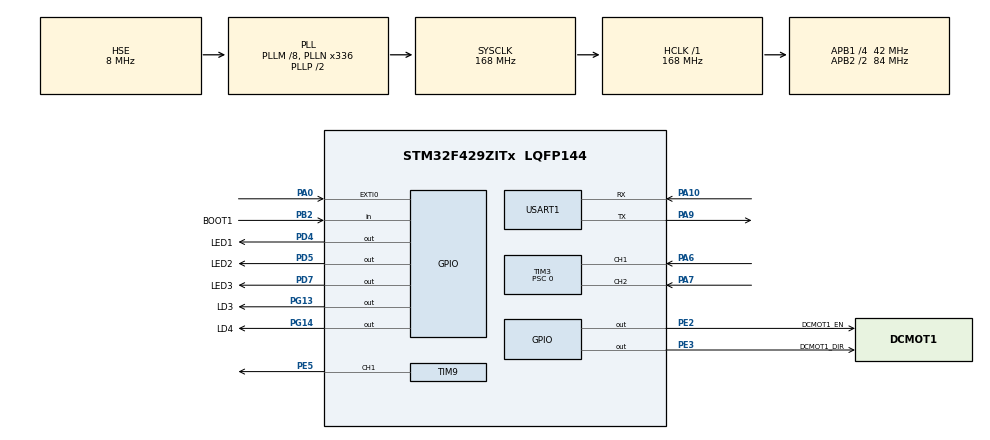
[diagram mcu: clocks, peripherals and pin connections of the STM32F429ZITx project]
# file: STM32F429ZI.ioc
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Mcu.Family=STM32F4
Mcu.Name=STM32F429ZITx
Mcu.Package=LQFP144
NVIC.EXTI0_IRQn=true\:0\:0\:false\:true\:true\:1\:true\:true
NVIC.PriorityGroup=NVIC_PRIORITYGROUP_4
NVIC.TIM6_DAC_IRQn=true\:0\:0\:false\:true\:true\:2\:true\:true
PA0/WKUP.Signal=GPXTI0
PA10.Mode=Asynchronous
PA10.Signal=USART1_RX
PA13.Mode=JTAG_4_pins
PA13.Signal=SYS_JTMS-SWDIO
PA14.Mode=JTAG_4_pins
PA14.Signal=SYS_JTCK-SWCLK
PA15.Mode=JTAG_4_pins
PA15.Signal=SYS_JTDI
PA6.GPIO_PuPd=GPIO_PULLUP
PA6.GPIO_Speed=GPIO_SPEED_FREQ_VERY_HIGH
PA6.Signal=S_TIM3_CH1
PA7.GPIO_PuPd=GPIO_PULLUP
PA7.GPIO_Speed=GPIO_SPEED_FREQ_VERY_HIGH
PA7.Signal=S_TIM3_CH2
PA9.Mode=Asynchronous
PA9.Signal=USART1_TX
PB2/BOOT1.GPIO_Label=BOOT1
PB2/BOOT1.Signal=GPIO_Input
PB3.Mode=JTAG_4_pins
PB3.Signal=SYS_JTDO-SWO
PD4.GPIO_Label=LED1
PD4.GPIO_ModeDefaultOutputPP=GPIO_MODE_OUTPUT_PP
PD4.GPIO_PuPd=GPIO_NOPULL
PD4.GPIO_Speed=GPIO_SPEED_FREQ_VERY_HIGH
PD4.PinState=GPIO_PIN_RESET
PD4.Signal=GPIO_Output
PD5.GPIO_Label=LED2
PD5.GPIO_ModeDefaultOutputPP=GPIO_MODE_OUTPUT_PP
PD5.GPIO_PuPd=GPIO_NOPULL
PD5.GPIO_Speed=GPIO_SPEED_FREQ_VERY_HIGH
PD5.PinState=GPIO_PIN_RESET
PD5.Signal=GPIO_Output
PD7.GPIO_Label=LED3
PD7.GPIO_ModeDefaultOutputPP=GPIO_MODE_OUTPUT_PP
PD7.GPIO_PuPd=GPIO_NOPULL
PD7.GPIO_Speed=GPIO_SPEED_FREQ_VERY_HIGH
PD7.PinState=GPIO_PIN_RESET
PD7.Signal=GPIO_Output
PE2.GPIO_Label=DCMOT1_EN
PE2.GPIO_Speed=GPIO_SPEED_FREQ_VERY_HIGH
PE2.Signal=GPIO_Output
PE3.GPIO_Label=DCMOT1_DIR
PE3.GPIO_Speed=GPIO_SPEED_FREQ_VERY_HIGH
PE3.Signal=GPIO_Output
PE5.GPIO_Speed=GPIO_SPEED_FREQ_VERY_HIGH
PE5.Signal=S_TIM9_CH1
PG13.GPIO_Label=LD3
PG13.Signal=GPIO_Output
PG14.GPIO_Label=LD4
PG14.Signal=GPIO_Output
PH0/OSC_IN.Mode=HSE-External-Clock-Source
PH0/OSC_IN.Signal=RCC_OSC_IN
PH1/OSC_OUT.Mode=HSE-External-Clock-Source
PH1/OSC_OUT.Signal=RCC_OSC_OUT
ProjectManager.HeapSize=0x200
ProjectManager.StackSize=0x400
ProjectManager.TargetToolchain=EWARM V8
RCC.48MHZClocksFreq_Value=84000000
RCC.AHBFreq_Value=168000000
RCC.APB1CLKDivider=RCC_HCLK_DIV4
RCC.APB1Freq_Value=42000000
RCC.APB1TimFreq_Value=84000000
RCC.APB2CLKDivider=RCC_HCLK_DIV2
RCC.APB2Freq_Value=84000000
RCC.APB2TimFreq_Value=168000000
RCC.CortexFreq_Value=168000000
RCC.HCLKFreq_Value=168000000
RCC.HSE_VALUE=8000000
RCC.HSI_VALUE=16000000
RCC.LSE_VALUE=32768
RCC.PLLM=8
RCC.PLLN=336
RCC.PLLSourceVirtual=RCC_PLLSOURCE_HSE
RCC.SYSCLKFreq_VALUE=168000000
RCC.SYSCLKSource=RCC_SYSCLKSOURCE_PLLCLK
RCC.VCOOutputFreq_Value=336000000
SH.S_TIM3_CH1.0=TIM3_CH1,Encoder_Interface
SH.S_TIM3_CH2.0=TIM3_CH2,Encoder_Interface
SH.S_TIM9_CH1.0=TIM9_CH1,PWM Generation1 CH1
TIM3.EncoderMode=TIM_ENCODERMODE_TI12
TIM3.IC1Filter=5
TIM3.IC2Filter=5
TIM3.Period=0xFFFF
TIM3.Prescaler=0
TIM6.Period=1000-1
TIM6.Prescaler=84-1
TIM9.Channel-PWM\ Generation1\ CH1=TIM_CHANNEL_1
TIM9.Period=100-1
TIM9.Prescaler=84-1
TIM9.Pulse-PWM\ Generation1\ CH1=10
USART1.VirtualMode=VM_ASYNC
VP_TIM6_VS_ClockSourceINT.Mode=Enable_Timer
VP_TIM9_VS_ClockSourceINT.Mode=Internal
board=custom

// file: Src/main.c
/* USER CODE BEGIN Header */
/**
  ******************************************************************************
  * @file           : main.c
  * @brief          : Main program body
  ******************************************************************************
  * @attention
  *
  * <h2><center>&copy; Copyright (c) 2020 STMicroelectronics.
  * All rights reserved.</center></h2>
  *
  * This software component is licensed by ST under BSD 3-Clause license,
  * the "License"; You may not use this file except in compliance with the
  * License. You may obtain a copy of the License at:
  *                        opensource.org/licenses/BSD-3-Clause
  *
  ******************************************************************************
  */

////////////////////////////
//
//   DC Motor PID Position Control
//
////////////////////////////
/* USER CODE END Header */

#include "main.h"

/* USER CODE BEGIN Includes */
#include <stdio.h>
#include <string.h>
#include <math.h>
#include "mathext.h"
#include "DcMotor.h"
#include "DcMotorExtern.h"

/* USER CODE END Includes */

/* USER CODE BEGIN PD */

#define PID_SUM_TYPE     1
#define PWM_MAX_STEP  10
#define PWM_MIN_POSITIVE 22
#define PWM_MIN_NEGATIVE 22

/* USER CODE END PD */

TIM_HandleTypeDef htim3;
TIM_HandleTypeDef htim6;
TIM_HandleTypeDef htim9;

UART_HandleTypeDef huart1;

/* USER CODE BEGIN PV */

//형 선언
typedef enum _bool{
  FALSE=0,
  TRUE=1
} bool;
bool a =TRUE;

struct  {
  float Kp;
  float Ki;
  float Kd;
} PidParam={3,  0.001, 0.005};

enum {
  STATE_IDLE = 0,
  STATE_RUN_SAVE, // 동작 및 저장
  STATE_NORUN_PRINT, // 결과출력
  STATE_RUN_ONLY,  //제어만
} RunState={STATE_RUN_SAVE};

bool flagTim3=FALSE;
int16_t flagUser=0; //user button press

/* USER CODE END PV */

void SystemClock_Config(void);
static void MX_GPIO_Init(void);
static void MX_TIM3_Init(void);
static void MX_USART1_UART_Init(void);
static void MX_TIM9_Init(void);
static void MX_TIM6_Init(void);
static void MX_NVIC_Init(void);

/* USER CODE BEGIN 0 */
/*
#ifdef __GNUC__
   #define PUTCHAR_PROTOTYPE int __io_putchar(int ch)
#else
   #define PUTCHAR_PROTOTYPE int fputc(int ch, FILE *f)
#endif

PUTCHAR_PROTOTYPE
{
   HAL_UART_Transmit(&huart1, (uint8_t *)&ch, 1, 1);
   return ch;
}
*/

void  ReadEncoder()
{
      //엔코더 위치 및 샘플링당 엔코더차이(속도) 16bit 계산
      DcMotor1.Encoder16 = DcMotor1ReadEncoder();//TIM4 16비트
      //인터럽트간 엔코더값 차이 계산 => 실제의미는 속도
      DcMotor1.Encoder16Diff= DcMotor1.Encoder16- DcMotor1.Encoder16Old;
      DcMotor1.Encoder16Old = DcMotor1.Encoder16;

       //엔코더 위치 및 샘플링당 엔코더차이(속도) 32bit 로 확장
      // TIM4는 16CNT , 모터 8회전하면 오버플로우문제가 발생
      // 현재위치 = 누적합 of 인터럽트간 엔코더값의 변화
      //x DcMotor1.Encoder32 = DcMotor1.Encoder16;
      DcMotor1.Encoder32 += DcMotor1.Encoder16Diff;
      DcMotor1.Encoder32Diff = DcMotor1.Encoder32- DcMotor1.Encoder32Old;//=DcMotor1.Encoder16Diff
      DcMotor1.Encoder32Old = DcMotor1.Encoder32;

      Controller1.Output32 = DcMotor1.Encoder32;
}

void PidControlInit()
{
  // DC Motor 관련변수 초기화
    DcMotor1.Encoder16Old = 0;
    DcMotor1.Encoder32 = 0 ;
    DcMotor1.Encoder32Old = 0 ;
    DcMotor1.Encoder32Diff = 0;

   // 제어기 관련변수 초기화
	Controller1.Output32 = DcMotor1.Encoder32;
    Controller1.Target32 = 4096;
    Controller1.ErrorOld32 = 0;
    Controller1.ErrorSum32 =0;
    Controller1.loop =0;

    //PWM duty =0
    DcMotor1SetDutyPulse(&htim9, 0);

    //htim4->CNT <= 0x0000 (16bit 카운터 clear)
    __HAL_TIM_SET_COUNTER(&htim3,   0x0000);
}

  float TermKp,TermKi,TermKd;

void PidControl()
{
   // 목표값과 현재 플랜트 출력의 오차
	Controller1.Error32 = Controller1.Target32- Controller1.Output32;

#ifdef PID_SUM_TYPE
   //Euler 적분
	Controller1.ErrorSum32 += Controller1.Error32; //오차의 합(적분값)
#else
   //사다리꼴 적분 : Tustin's method
	Controller1.ErrorSum32 += (Controller1.Error32+Controller1.ErrorOld32)/2; //오차의 합(적분값)
#endif

   Controller1.ErrorDiff32 = Controller1.Error32- Controller1.ErrorOld32; // 샘플간 오차의 차이(미분값)
   Controller1.ErrorOld32 = Controller1.Error32;

   //ErrorSum 최대값 제한
   #define ERRROR_SUM_MAX  (WHEEL_RESOLUTION*0.5)
	//	Controller1.ErrorSum32 = LimitFloat(Controller1.ErrorSum32 , ERRROR_SUM_MAX);
   #undef ERRROR_SUM_MAX

    TermKp =  PidParam.Kp * Controller1.Error32 ; //비례제어값
    TermKi = PidParam.Ki * Controller1.ErrorSum32 * Tsample; //적분제어값
    TermKd =  PidParam.Kd * Controller1.ErrorDiff32 / Tsample ;//미분제어값
    Controller1.f = TermKp + TermKi + TermKd;

    //PWM pulse 실수=>+-100이내의 정수값 변환
    Controller1.U = FloatToInt16Limit( Controller1.f ,  U_MAX);
    //PWM dead zone 피하기
    Controller1.U  = AvoidDeadzone(Controller1.U, PWM_MIN_POSITIVE,  PWM_MIN_NEGATIVE);
    //PWM pulse 폭 설정
    DcMotor1SetDutyPulse(&htim9, Controller1.U);
}

void PidControlRecord()
{
	Backup1.RecordOutput[Controller1.loop]= Controller1.Output32;//엔코더 값
	Backup1.RecordU[Controller1.loop] = Controller1.U; //PWM 펄스폭
	Backup1.RecordError[Controller1.loop] = Controller1.Error32;  //제어기 오차
	Backup1.RecordErrorSum[Controller1.loop] = Controller1.ErrorSum32;
	Backup1.RecordErrorDiff[Controller1.loop] = Controller1.ErrorDiff32;
}

void PidControlResultTransmit()
{
  char string[200];
  HAL_UART_Transmit(&huart1, (uint8_t *)"Record Print\r\n", strlen("Record Print\r\n"), 1000);
  for(int i=0 ; i<RECORD_MAX ; i++ ){
//	printf("%7d, %5d, %6d \r\n", i, Backup1.RecordOutput[i], Backup1.RecordU[i]);
     sprintf(string, "%7d, %5d, %6d \r\n", i, Backup1.RecordOutput[i], Backup1.RecordU[i]);
     HAL_UART_Transmit( &huart1, (uint8_t *)string, strlen(string), 1000);
  }
}

//LCD에 엔코더, U값 출력
void Plot()
{
}

/* USER CODE END 0 */

int main(void)
{
  /* USER CODE BEGIN 1 */
  char string[100];
  /* USER CODE END 1 */

  /* MCU Configuration--------------------------------------------------------*/

  /* Reset of all peripherals, Initializes the Flash interface and the Systick. */
  HAL_Init();

  /* Configure the system clock */
  SystemClock_Config();

  /* Initialize all configured peripherals */
  MX_GPIO_Init();
  MX_TIM3_Init();
  MX_USART1_UART_Init();
  MX_TIM9_Init();
  MX_TIM6_Init();

  /* Initialize interrupts */
  MX_NVIC_Init();
  /* USER CODE BEGIN 2 */

   PidControlInit();
   HAL_TIM_Encoder_Start(&htim3, TIM_CHANNEL_1 | TIM_CHANNEL_2 );
   HAL_TIM_Base_Start_IT(&htim6);
   HAL_TIM_PWM_Start(&htim9, TIM_CHANNEL_1);

  /* USER CODE END 2 */

  /* Infinite loop */
  while (1)
  {

    /* USER CODE BEGIN 3 */
        if( flagTim3==TRUE){
			HAL_GPIO_WritePin(LD4_GPIO_Port, LD4_Pin,GPIO_PIN_SET);
			ReadEncoder();
            switch(RunState){
               case STATE_RUN_SAVE://동작저장 모드
                  if(Controller1.loop< RECORD_MAX){
						PidControl();
						PidControlRecord();
						Plot();
						Controller1.loop++;
                  }else {
                     Controller1.loop = 0;
                   RunState = STATE_NORUN_PRINT;
                    //RunState = STATE_RUN_ONLY;
                  }
                  break;

               case STATE_NORUN_PRINT:// 저장된 내용 시리얼 출력
                  //TIM6 interrupt disable
                  HAL_NVIC_DisableIRQ( TIM6_DAC_IRQn);
				  DcMotor1SetDutyPulse(&htim9, 0);
                  PidControlResultTransmit();
                  Controller1.loop = 0;
                 RunState = STATE_RUN_ONLY;
                  //TIM6 interrupt enable
                  HAL_NVIC_EnableIRQ( TIM6_DAC_IRQn);
                  break;

               case STATE_RUN_ONLY:
                 PidControl();
                  break;

            case STATE_IDLE:
                  break;
            }

            flagTim3=FALSE;
            HAL_GPIO_WritePin(LD4_GPIO_Port, LD4_Pin,GPIO_PIN_RESET);
        }
    }
  /* USER CODE END 3 */
}

void SystemClock_Config(void)
{
  RCC_OscInitTypeDef RCC_OscInitStruct = {0};
  RCC_ClkInitTypeDef RCC_ClkInitStruct = {0};

  /** Configure the main internal regulator output voltage
  */
  __HAL_RCC_PWR_CLK_ENABLE();
  __HAL_PWR_VOLTAGESCALING_CONFIG(PWR_REGULATOR_VOLTAGE_SCALE1);
  /** Initializes the CPU, AHB and APB busses clocks
  */
  RCC_OscInitStruct.OscillatorType = RCC_OSCILLATORTYPE_HSE;
  RCC_OscInitStruct.HSEState = RCC_HSE_BYPASS;
  RCC_OscInitStruct.PLL.PLLState = RCC_PLL_ON;
  RCC_OscInitStruct.PLL.PLLSource = RCC_PLLSOURCE_HSE;
  RCC_OscInitStruct.PLL.PLLM = 8;
  RCC_OscInitStruct.PLL.PLLN = 336;
  RCC_OscInitStruct.PLL.PLLP = RCC_PLLP_DIV2;
  RCC_OscInitStruct.PLL.PLLQ = 4;
  if (HAL_RCC_OscConfig(&RCC_OscInitStruct) != HAL_OK)
  {
    Error_Handler();
  }
  /** Initializes the CPU, AHB and APB busses clocks
  */
  RCC_ClkInitStruct.ClockType = RCC_CLOCKTYPE_HCLK|RCC_CLOCKTYPE_SYSCLK
                              |RCC_CLOCKTYPE_PCLK1|RCC_CLOCKTYPE_PCLK2;
  RCC_ClkInitStruct.SYSCLKSource = RCC_SYSCLKSOURCE_PLLCLK;
  RCC_ClkInitStruct.AHBCLKDivider = RCC_SYSCLK_DIV1;
  RCC_ClkInitStruct.APB1CLKDivider = RCC_HCLK_DIV4;
  RCC_ClkInitStruct.APB2CLKDivider = RCC_HCLK_DIV2;

  if (HAL_RCC_ClockConfig(&RCC_ClkInitStruct, FLASH_LATENCY_5) != HAL_OK)
  {
    Error_Handler();
  }
}

/**
  * @brief NVIC Configuration.
  * @retval None
  */
static void MX_NVIC_Init(void)
{
  /* EXTI0_IRQn interrupt configuration */
  HAL_NVIC_SetPriority(EXTI0_IRQn, 0, 0);
  HAL_NVIC_EnableIRQ(EXTI0_IRQn);
  /* TIM6_DAC_IRQn interrupt configuration */
  HAL_NVIC_SetPriority(TIM6_DAC_IRQn, 0, 0);
  HAL_NVIC_EnableIRQ(TIM6_DAC_IRQn);
}

static void MX_TIM3_Init(void)
{

  TIM_Encoder_InitTypeDef sConfig = {0};
  TIM_MasterConfigTypeDef sMasterConfig = {0};

  htim3.Instance = TIM3;
  htim3.Init.Prescaler = 0;
  htim3.Init.CounterMode = TIM_COUNTERMODE_UP;
  htim3.Init.Period = 0xFFFF;
  htim3.Init.ClockDivision = TIM_CLOCKDIVISION_DIV1;
  htim3.Init.AutoReloadPreload = TIM_AUTORELOAD_PRELOAD_DISABLE;
  sConfig.EncoderMode = TIM_ENCODERMODE_TI12;
  sConfig.IC1Polarity = TIM_ICPOLARITY_RISING;
  sConfig.IC1Selection = TIM_ICSELECTION_DIRECTTI;
  sConfig.IC1Prescaler = TIM_ICPSC_DIV1;
  sConfig.IC1Filter = 5;
  sConfig.IC2Polarity = TIM_ICPOLARITY_RISING;
  sConfig.IC2Selection = TIM_ICSELECTION_DIRECTTI;
  sConfig.IC2Prescaler = TIM_ICPSC_DIV1;
  sConfig.IC2Filter = 5;
  if (HAL_TIM_Encoder_Init(&htim3, &sConfig) != HAL_OK)
  {
    Error_Handler();
  }
  sMasterConfig.MasterOutputTrigger = TIM_TRGO_RESET;
  sMasterConfig.MasterSlaveMode = TIM_MASTERSLAVEMODE_DISABLE;
  if (HAL_TIMEx_MasterConfigSynchronization(&htim3, &sMasterConfig) != HAL_OK)
  {
    Error_Handler();
  }

}

static void MX_TIM6_Init(void)
{

  TIM_MasterConfigTypeDef sMasterConfig = {0};

  htim6.Instance = TIM6;
  htim6.Init.Prescaler = 84-1;
  htim6.Init.CounterMode = TIM_COUNTERMODE_UP;
  htim6.Init.Period = 1000-1;
  htim6.Init.AutoReloadPreload = TIM_AUTORELOAD_PRELOAD_DISABLE;
  if (HAL_TIM_Base_Init(&htim6) != HAL_OK)
  {
    Error_Handler();
  }
  sMasterConfig.MasterOutputTrigger = TIM_TRGO_RESET;
  sMasterConfig.MasterSlaveMode = TIM_MASTERSLAVEMODE_DISABLE;
  if (HAL_TIMEx_MasterConfigSynchronization(&htim6, &sMasterConfig) != HAL_OK)
  {
    Error_Handler();
  }

}

static void MX_TIM9_Init(void)
{

  TIM_ClockConfigTypeDef sClockSourceConfig = {0};
  TIM_OC_InitTypeDef sConfigOC = {0};

  htim9.Instance = TIM9;
  htim9.Init.Prescaler = 84-1;
  htim9.Init.CounterMode = TIM_COUNTERMODE_UP;
  htim9.Init.Period = 100-1;
  htim9.Init.ClockDivision = TIM_CLOCKDIVISION_DIV1;
  htim9.Init.AutoReloadPreload = TIM_AUTORELOAD_PRELOAD_DISABLE;
  if (HAL_TIM_Base_Init(&htim9) != HAL_OK)
  {
    Error_Handler();
  }
  sClockSourceConfig.ClockSource = TIM_CLOCKSOURCE_INTERNAL;
  if (HAL_TIM_ConfigClockSource(&htim9, &sClockSourceConfig) != HAL_OK)
  {
    Error_Handler();
  }
  if (HAL_TIM_PWM_Init(&htim9) != HAL_OK)
  {
    Error_Handler();
  }
  sConfigOC.OCMode = TIM_OCMODE_PWM1;
  sConfigOC.Pulse = 10;
  sConfigOC.OCPolarity = TIM_OCPOLARITY_HIGH;
  sConfigOC.OCFastMode = TIM_OCFAST_DISABLE;
  if (HAL_TIM_PWM_ConfigChannel(&htim9, &sConfigOC, TIM_CHANNEL_1) != HAL_OK)
  {
    Error_Handler();
  }
  HAL_TIM_MspPostInit(&htim9);

}

static void MX_USART1_UART_Init(void)
{

  huart1.Instance = USART1;
  huart1.Init.BaudRate = 115200;
  huart1.Init.WordLength = UART_WORDLENGTH_8B;
  huart1.Init.StopBits = UART_STOPBITS_1;
  huart1.Init.Parity = UART_PARITY_NONE;
  huart1.Init.Mode = UART_MODE_TX_RX;
  huart1.Init.HwFlowCtl = UART_HWCONTROL_NONE;
  huart1.Init.OverSampling = UART_OVERSAMPLING_16;
  if (HAL_UART_Init(&huart1) != HAL_OK)
  {
    Error_Handler();
  }

}

static void MX_GPIO_Init(void)
{
  GPIO_InitTypeDef GPIO_InitStruct = {0};

  /* GPIO Ports Clock Enable */
  __HAL_RCC_GPIOE_CLK_ENABLE();
  __HAL_RCC_GPIOH_CLK_ENABLE();
  __HAL_RCC_GPIOA_CLK_ENABLE();
  __HAL_RCC_GPIOB_CLK_ENABLE();
  __HAL_RCC_GPIOD_CLK_ENABLE();
  __HAL_RCC_GPIOG_CLK_ENABLE();

  /*Configure GPIO pin Output Level */
  HAL_GPIO_WritePin(GPIOE, DCMOT1_EN_Pin|DCMOT1_DIR_Pin, GPIO_PIN_RESET);

  /*Configure GPIO pin Output Level */
  HAL_GPIO_WritePin(GPIOD, LED1_Pin|LED2_Pin|LED3_Pin, GPIO_PIN_RESET);

  /*Configure GPIO pin Output Level */
  HAL_GPIO_WritePin(GPIOG, LD3_Pin|LD4_Pin, GPIO_PIN_RESET);

  /*Configure GPIO pins : DCMOT1_EN_Pin DCMOT1_DIR_Pin */
  GPIO_InitStruct.Pin = DCMOT1_EN_Pin|DCMOT1_DIR_Pin;
  GPIO_InitStruct.Mode = GPIO_MODE_OUTPUT_PP;
  GPIO_InitStruct.Pull = GPIO_NOPULL;
  GPIO_InitStruct.Speed = GPIO_SPEED_FREQ_VERY_HIGH;
  HAL_GPIO_Init(GPIOE, &GPIO_InitStruct);

  /*Configure GPIO pin : PA0 */
  GPIO_InitStruct.Pin = GPIO_PIN_0;
  GPIO_InitStruct.Mode = GPIO_MODE_IT_RISING;
  GPIO_InitStruct.Pull = GPIO_NOPULL;
  HAL_GPIO_Init(GPIOA, &GPIO_InitStruct);

  /*Configure GPIO pin : BOOT1_Pin */
  GPIO_InitStruct.Pin = BOOT1_Pin;
  GPIO_InitStruct.Mode = GPIO_MODE_INPUT;
  GPIO_InitStruct.Pull = GPIO_NOPULL;
  HAL_GPIO_Init(BOOT1_GPIO_Port, &GPIO_InitStruct);

  /*Configure GPIO pins : LED1_Pin LED2_Pin LED3_Pin */
  GPIO_InitStruct.Pin = LED1_Pin|LED2_Pin|LED3_Pin;
  GPIO_InitStruct.Mode = GPIO_MODE_OUTPUT_PP;
  GPIO_InitStruct.Pull = GPIO_NOPULL;
  GPIO_InitStruct.Speed = GPIO_SPEED_FREQ_VERY_HIGH;
  HAL_GPIO_Init(GPIOD, &GPIO_InitStruct);

  /*Configure GPIO pins : LD3_Pin LD4_Pin */
  GPIO_InitStruct.Pin = LD3_Pin|LD4_Pin;
  GPIO_InitStruct.Mode = GPIO_MODE_OUTPUT_PP;
  GPIO_InitStruct.Pull = GPIO_NOPULL;
  GPIO_InitStruct.Speed = GPIO_SPEED_FREQ_LOW;
  HAL_GPIO_Init(GPIOG, &GPIO_InitStruct);

}

/* USER CODE BEGIN 4 */
void HAL_GPIO_EXTI_Callback(uint16_t GPIO_Pin)
{
  if(GPIO_Pin== GPIO_PIN_0){

    flagUser =1;
  }
}

void HAL_TIM_PeriodElapsedCallback(TIM_HandleTypeDef *htim)
{
  if( htim->Instance == TIM6)
      HAL_GPIO_TogglePin(LD3_GPIO_Port,  LD3_Pin);
      flagTim3 = TRUE;
	  ReadEncoder();
}
/* USER CODE END 4 */

void Error_Handler(void)
{
}

/************************ (C) COPYRIGHT STMicroelectronics *****END OF FILE****/
